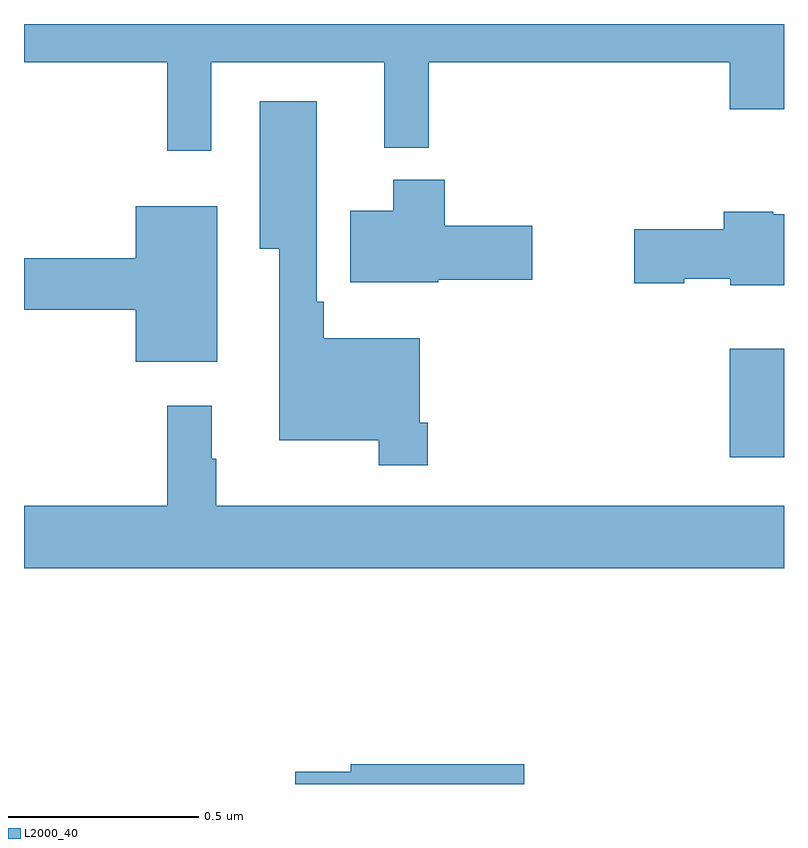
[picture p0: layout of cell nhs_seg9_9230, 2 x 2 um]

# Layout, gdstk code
import gdstk
lib = gdstk.Library(unit=1e-6, precision=1e-09)
def R(c, l, rs):  # rectangles x0, y0, x1, y1
    for r in rs: c.add(gdstk.rectangle(r[:2], r[2:], *l))
def P(c, l, *ps):  # polygons
    for p in ps: c.add(gdstk.Polygon(p, *l))
L2000_40 = (2000, 40)

nhs_seg9_9230 = lib.new_cell('nhs_seg9_9230')
R(nhs_seg9_9230, L2000_40, [(228.857,1215.36,229,1215.646)])
P(nhs_seg9_9230, L2000_40, [(227.493,1216.4),(227.948,1216.4),(227.948,1216.175),(228.065,1216.175),(228.065,1216.4),(228.857,1216.4),(228.857,1216.276),(229,1216.276),(229,1216.5),(227,1216.5),(227,1216.4),(227.377,1216.4),(227.377,1216.167),(227.493,1216.167)],
  [(228.062,1215.451),(228.042,1215.451),(228.042,1215.673),(227.789,1215.673),(227.789,1215.769),(227.77,1215.769),(227.77,1216.297),(227.621,1216.297),(227.621,1215.908),(227.672,1215.908),(227.672,1215.404),(227.934,1215.404),(227.934,1215.339),(228.062,1215.339)],
  [(228.09,1215.827),(228.337,1215.827),(228.337,1215.969),(228.107,1215.969),(228.107,1216.09),(227.972,1216.09),(227.972,1216.009),(227.858,1216.009),(227.858,1215.821),(228.09,1215.821)],
  [(227.509,1216.021),(227.294,1216.021),(227.294,1215.884),(227,1215.884),(227,1215.748),(227.294,1215.748),(227.294,1215.611),(227.509,1215.611)],
  [(229,1216),(228.972,1216),(228.972,1216.006),(228.842,1216.006),(228.842,1215.96),(228.606,1215.96),(228.606,1215.818),(228.738,1215.818),(228.738,1215.83),(228.858,1215.83),(228.858,1215.812),(229,1215.812)],
  [(229,1215.232),(227.506,1215.232),(227.506,1215.356),(227.494,1215.356),(227.494,1215.496),(227.377,1215.496),(227.377,1215.232),(227,1215.232),(227,1215.068),(229,1215.068)],
  [(228.317,1214.552),(227.86,1214.552),(227.86,1214.532),(227.714,1214.532),(227.714,1214.5),(228.317,1214.5)])

lib.write_gds('nhs_seg9_9230.gds')
